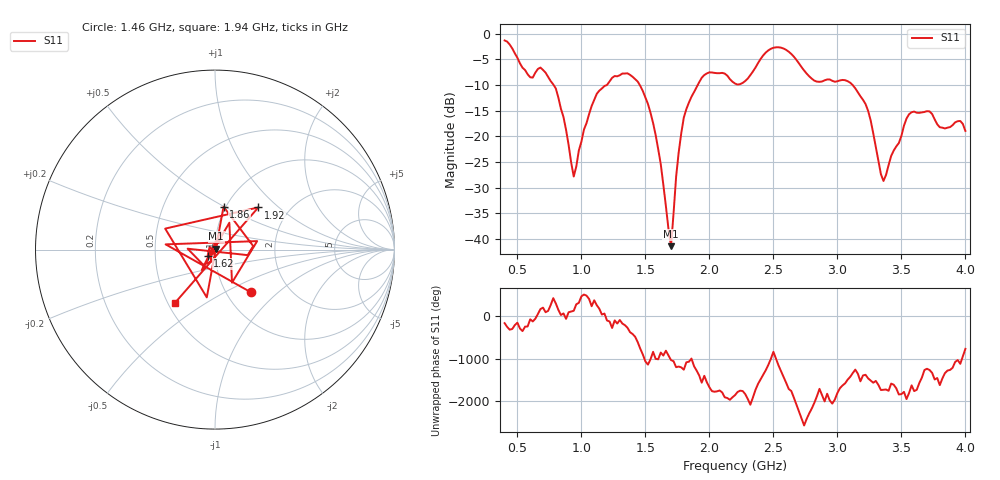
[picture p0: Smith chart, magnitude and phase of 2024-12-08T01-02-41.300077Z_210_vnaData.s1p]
!Created with skrf (http://scikit-rf.org).
# Hz S RI R 50.0
!freq ReS11 ImS11
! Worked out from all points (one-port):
!   181 points, 400 MHz to 4 GHz, reference 50 ohm
!   lowest |S11| = -41.4 dB at 1.7 GHz (marker M1), VSWR 1.02, Z = 50.6 + j0.588 ohm
!   |S11| at or under -10 dB: 783.3 MHz to 1.198 GHz (414.9 MHz wide, 41.9 % of centre); 1.456 GHz to 1.909 GHz (452.5 MHz wide, 26.9 % of centre); 3.12 GHz to end of sweep
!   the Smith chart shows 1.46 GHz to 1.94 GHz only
!   S11 on the Smith chart (normalised r, x): 1.46 GHz: 1.30, -0.68; 1.62 GHz: 0.92, -0.06; 1.86 GHz: 0.98, +0.50; 1.92 GHz: 1.41, +0.75; 1.94 GHz: 0.54, -0.38
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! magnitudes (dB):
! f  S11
! 400 MHz  -1.3
! 600 MHz  -8.5
! 720 MHz  -7.6
! 800 MHz  -10.7
! 860 MHz  -16.2
! 940 MHz  -27.8
! 1.02 GHz  -18.7
! 1.12 GHz  -11.7
! 1.3 GHz  -8.1
! 1.46 GHz  -10.2
! 1.54 GHz  -15.4
! 1.62 GHz  -25.4
! 1.7 GHz  -41.4
! 1.76 GHz  -23.1
! 1.8 GHz  -16.3
! 1.86 GHz  -12.3
! 1.92 GHz  -9.4
! 1.94 GHz  -8.6
! 2.2 GHz  -9.7
! 2.48 GHz  -2.9
! 2.66 GHz  -4.5
! 2.82 GHz  -9.1
! 3.1 GHz  -9.5
! 3.24 GHz  -15.0
! 3.36 GHz  -28.7
! 3.56 GHz  -15.7
! 3.72 GHz  -15.1
! 4 GHz  -18.9
